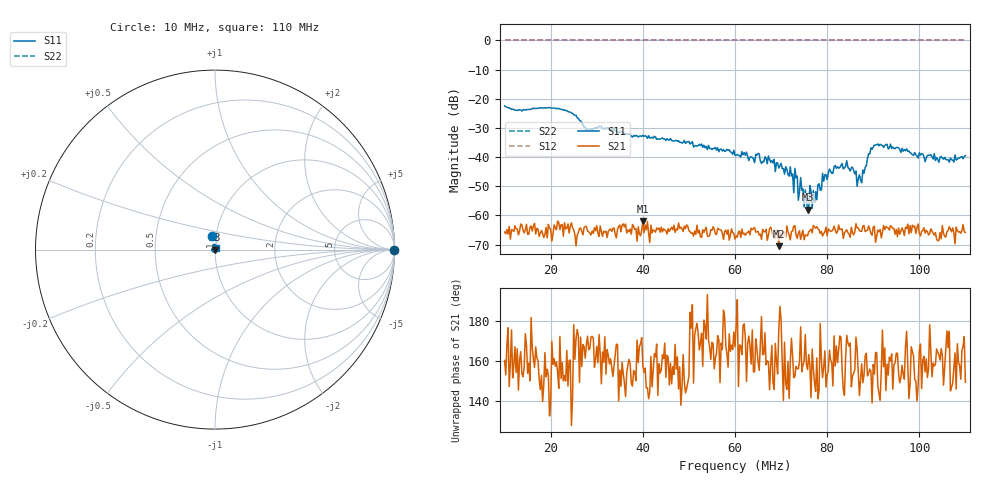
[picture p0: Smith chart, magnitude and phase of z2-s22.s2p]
! Anritsu VNA Master:  Model: MS2034B/10/19/501
! SN:  1337062
! /bd0/ovro-jan-2016/z2-s22.s2p
! Existing Calibration Information:
! TYPE:  Current Settings,  Active Cal Settings
! TIME:  01/08/2016 01:29:34 PM,  01/08/2016 01:28:30 PM
! INTERNAL TEMP:  48.0 C,  48.5 C
! # POINTS:  401,  401
! START FREQ:  10.000 MHz,  10.000 MHz
! STOP FREQ:  110.000 MHz,  110.000 MHz
! SOURCE POWER:  Low,  Low
! IFBW:  100 Hz,  100 Hz
! AVG FACTOR:  1 ,  1
! REF PLANE 1:  0 mm,  0 mm
! REF PLANE 2:  0 mm,  0 mm
! CAL TYPE:  Full S11,  Full S11
! CAL METHOD:  SOLT,  SOLT
! CAL LINE TYPE:  Coax,  Coax
! DUT PORT 1:  K-Conn(M),  K-Conn(M)
! DUT PORT 2:  N-Conn(M),  N-Conn(M)
! CAL STATUS:  OK: Accuracy High,  --
# GHZ S DB R 50.0
! FREQ.GHZ  S11DB  S11A  S21DB  S21A  S12DB  S12A  S22DB  S22A
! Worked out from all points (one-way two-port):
!   401 points, 10 MHz to 110 MHz, reference 50 ohm
!   highest |S21| = -61.97 dB at 40 MHz (marker M1); lowest = -70.6 dB at 69.5 MHz (marker M2)
!   lowest |S11| = -58.1 dB at 75.75 MHz (marker M3), VSWR 1.00, Z = 50 - j0.117 ohm
!   |S11| at or under -10 dB: start of sweep to end of sweep
!   |S22| runs from 0.0 to 0.0 dB; largest |S21 - S12| = 1
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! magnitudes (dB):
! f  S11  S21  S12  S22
! 10 MHz  -22.4  -65.7  0.0  0.0
! 22.25 MHz  -23.6  -63.2  0.0  0.0
! 25.5 MHz  -25.7  -70.5  0.0  0.0
! 26.75 MHz  -28.2  -65.5  0.0  0.0
! 40 MHz  -32.6  -62.0  0.0  0.0
! 43.5 MHz  -33.8  -64.4  0.0  0.0
! 60 MHz  -39.4  -68.1  0.0  0.0
! 64 MHz  -40.6  -64.5  0.0  0.0
! 69.5 MHz  -43.8  -70.6  0.0  0.0
! 73 MHz  -43.9  -63.6  0.0  0.0
! 75.5 MHz  -54.6  -66.8  0.0  0.0
! 75.75 MHz  -58.1  -67.0  0.0  0.0
! 76.75 MHz  -57.6  -66.0  0.0  0.0
! 82 MHz  -43.9  -66.1  0.0  0.0
! 84.75 MHz  -44.0  -66.5  0.0  0.0
! 87 MHz  -46.1  -65.2  0.0  0.0
! 90 MHz  -36.6  -64.0  0.0  0.0
! 93.5 MHz  -36.8  -65.0  0.0  0.0
! 99.25 MHz  -39.2  -66.2  0.0  0.0
! 104.2 MHz  -41.8  -68.6  0.0  0.0
! 106.8 MHz  -40.4  -64.7  0.0  0.0
! 110 MHz  -39.5  -65.9  0.0  0.0
